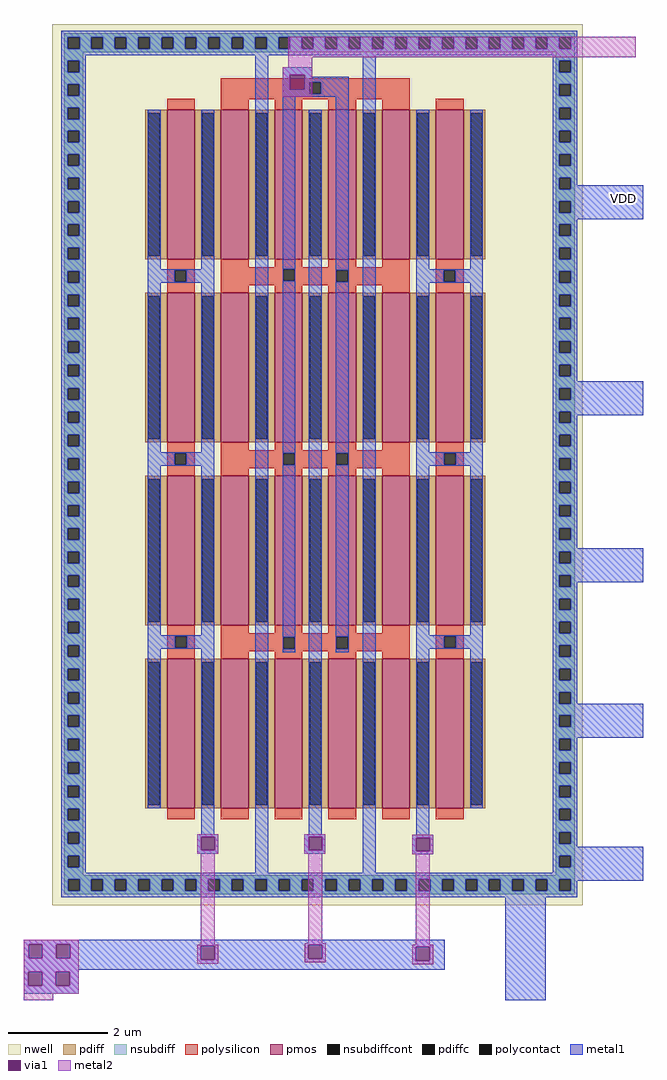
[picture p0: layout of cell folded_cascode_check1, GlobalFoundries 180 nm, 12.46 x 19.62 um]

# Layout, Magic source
magic
tech gf180mcuC
magscale 1 10
<< nwell >>
rect -3356 -2050 -1223 1494
<< nsubdiff >>
rect -3309 1441 -1257 1456
rect -3309 1394 -3294 1441
rect -3247 1395 -3199 1441
rect -3153 1395 -3105 1441
rect -3059 1395 -3011 1441
rect -2965 1395 -2917 1441
rect -2871 1395 -2823 1441
rect -2777 1395 -2729 1441
rect -2683 1395 -2635 1441
rect -2589 1395 -2541 1441
rect -2495 1395 -2447 1441
rect -2401 1395 -2353 1441
rect -2307 1395 -2259 1441
rect -2213 1395 -2165 1441
rect -2119 1395 -2071 1441
rect -2025 1395 -1977 1441
rect -1931 1395 -1883 1441
rect -1837 1395 -1789 1441
rect -1743 1395 -1695 1441
rect -1649 1395 -1601 1441
rect -1555 1395 -1507 1441
rect -1461 1395 -1413 1441
rect -1367 1395 -1319 1441
rect -3247 1394 -1319 1395
rect -1272 1394 -1257 1441
rect -3309 1380 -1257 1394
rect -3309 1346 -3233 1380
rect -3309 1300 -3294 1346
rect -3248 1300 -3233 1346
rect -3309 1252 -3233 1300
rect -1333 1346 -1257 1380
rect -1333 1300 -1318 1346
rect -1272 1300 -1257 1346
rect -3309 1206 -3294 1252
rect -3248 1206 -3233 1252
rect -3309 1158 -3233 1206
rect -1333 1252 -1257 1300
rect -1333 1206 -1318 1252
rect -1272 1206 -1257 1252
rect -3309 1112 -3294 1158
rect -3248 1112 -3233 1158
rect -3309 1064 -3233 1112
rect -3309 1018 -3294 1064
rect -3248 1018 -3233 1064
rect -3309 970 -3233 1018
rect -3309 924 -3294 970
rect -3248 924 -3233 970
rect -3309 876 -3233 924
rect -3309 830 -3294 876
rect -3248 830 -3233 876
rect -3309 782 -3233 830
rect -3309 736 -3294 782
rect -3248 736 -3233 782
rect -3309 688 -3233 736
rect -3309 642 -3294 688
rect -3248 642 -3233 688
rect -3309 594 -3233 642
rect -3309 548 -3294 594
rect -3248 548 -3233 594
rect -3309 500 -3233 548
rect -1333 1158 -1257 1206
rect -1333 1112 -1318 1158
rect -1272 1112 -1257 1158
rect -1333 1064 -1257 1112
rect -1333 1018 -1318 1064
rect -1272 1018 -1257 1064
rect -1333 970 -1257 1018
rect -1333 924 -1318 970
rect -1272 924 -1257 970
rect -1333 876 -1257 924
rect -1333 830 -1318 876
rect -1272 830 -1257 876
rect -1333 782 -1257 830
rect -1333 736 -1318 782
rect -1272 736 -1257 782
rect -1333 688 -1257 736
rect -1333 642 -1318 688
rect -1272 642 -1257 688
rect -1333 594 -1257 642
rect -1333 548 -1318 594
rect -1272 548 -1257 594
rect -3309 454 -3294 500
rect -3248 454 -3233 500
rect -1333 500 -1257 548
rect -3309 406 -3233 454
rect -1333 454 -1318 500
rect -1272 454 -1257 500
rect -3309 360 -3294 406
rect -3248 360 -3233 406
rect -3309 312 -3233 360
rect -3309 266 -3294 312
rect -3248 266 -3233 312
rect -3309 218 -3233 266
rect -3309 172 -3294 218
rect -3248 172 -3233 218
rect -3309 124 -3233 172
rect -3309 78 -3294 124
rect -3248 78 -3233 124
rect -3309 30 -3233 78
rect -3309 -16 -3294 30
rect -3248 -16 -3233 30
rect -3309 -64 -3233 -16
rect -3309 -110 -3294 -64
rect -3248 -110 -3233 -64
rect -3309 -158 -3233 -110
rect -3309 -204 -3294 -158
rect -3248 -204 -3233 -158
rect -3309 -252 -3233 -204
rect -1333 406 -1257 454
rect -1333 360 -1318 406
rect -1272 360 -1257 406
rect -1333 312 -1257 360
rect -1333 266 -1318 312
rect -1272 266 -1257 312
rect -1333 218 -1257 266
rect -1333 172 -1318 218
rect -1272 172 -1257 218
rect -1333 124 -1257 172
rect -1333 78 -1318 124
rect -1272 78 -1257 124
rect -1333 30 -1257 78
rect -1333 -16 -1318 30
rect -1272 -16 -1257 30
rect -1333 -64 -1257 -16
rect -1333 -110 -1318 -64
rect -1272 -110 -1257 -64
rect -1333 -158 -1257 -110
rect -1333 -204 -1318 -158
rect -1272 -204 -1257 -158
rect -3309 -298 -3294 -252
rect -3248 -298 -3233 -252
rect -1333 -252 -1257 -204
rect -3309 -346 -3233 -298
rect -3309 -392 -3294 -346
rect -3248 -392 -3233 -346
rect -3309 -440 -3233 -392
rect -3309 -486 -3294 -440
rect -3248 -486 -3233 -440
rect -3309 -534 -3233 -486
rect -3309 -580 -3294 -534
rect -3248 -580 -3233 -534
rect -3309 -628 -3233 -580
rect -3309 -674 -3294 -628
rect -3248 -674 -3233 -628
rect -3309 -722 -3233 -674
rect -3309 -768 -3294 -722
rect -3248 -768 -3233 -722
rect -3309 -816 -3233 -768
rect -3309 -862 -3294 -816
rect -3248 -862 -3233 -816
rect -3309 -910 -3233 -862
rect -3309 -956 -3294 -910
rect -3248 -956 -3233 -910
rect -1333 -298 -1318 -252
rect -1272 -298 -1257 -252
rect -1333 -346 -1257 -298
rect -1333 -392 -1318 -346
rect -1272 -392 -1257 -346
rect -1333 -440 -1257 -392
rect -1333 -486 -1318 -440
rect -1272 -486 -1257 -440
rect -1333 -534 -1257 -486
rect -1333 -580 -1318 -534
rect -1272 -580 -1257 -534
rect -1333 -628 -1257 -580
rect -1333 -674 -1318 -628
rect -1272 -674 -1257 -628
rect -1333 -722 -1257 -674
rect -1333 -768 -1318 -722
rect -1272 -768 -1257 -722
rect -1333 -816 -1257 -768
rect -1333 -862 -1318 -816
rect -1272 -862 -1257 -816
rect -1333 -910 -1257 -862
rect -3309 -1004 -3233 -956
rect -3309 -1050 -3294 -1004
rect -3248 -1050 -3233 -1004
rect -1333 -956 -1318 -910
rect -1272 -956 -1257 -910
rect -1333 -1004 -1257 -956
rect -3309 -1098 -3233 -1050
rect -3309 -1144 -3294 -1098
rect -3248 -1144 -3233 -1098
rect -3309 -1192 -3233 -1144
rect -3309 -1238 -3294 -1192
rect -3248 -1238 -3233 -1192
rect -3309 -1286 -3233 -1238
rect -3309 -1332 -3294 -1286
rect -3248 -1332 -3233 -1286
rect -3309 -1380 -3233 -1332
rect -3309 -1426 -3294 -1380
rect -3248 -1426 -3233 -1380
rect -3309 -1474 -3233 -1426
rect -3309 -1520 -3294 -1474
rect -3248 -1520 -3233 -1474
rect -3309 -1568 -3233 -1520
rect -3309 -1614 -3294 -1568
rect -3248 -1614 -3233 -1568
rect -3309 -1662 -3233 -1614
rect -3309 -1708 -3294 -1662
rect -3248 -1708 -3233 -1662
rect -3309 -1756 -3233 -1708
rect -3309 -1802 -3294 -1756
rect -3248 -1802 -3233 -1756
rect -3309 -1850 -3233 -1802
rect -3309 -1896 -3294 -1850
rect -3248 -1896 -3233 -1850
rect -3309 -1929 -3233 -1896
rect -1333 -1050 -1318 -1004
rect -1272 -1050 -1257 -1004
rect -1333 -1098 -1257 -1050
rect -1333 -1144 -1318 -1098
rect -1272 -1144 -1257 -1098
rect -1333 -1192 -1257 -1144
rect -1333 -1238 -1318 -1192
rect -1272 -1238 -1257 -1192
rect -1333 -1286 -1257 -1238
rect -1333 -1332 -1318 -1286
rect -1272 -1332 -1257 -1286
rect -1333 -1380 -1257 -1332
rect -1333 -1426 -1318 -1380
rect -1272 -1426 -1257 -1380
rect -1333 -1474 -1257 -1426
rect -1333 -1520 -1318 -1474
rect -1272 -1520 -1257 -1474
rect -1333 -1568 -1257 -1520
rect -1333 -1614 -1318 -1568
rect -1272 -1614 -1257 -1568
rect -1333 -1662 -1257 -1614
rect -1333 -1708 -1318 -1662
rect -1272 -1708 -1257 -1662
rect -1333 -1756 -1257 -1708
rect -1333 -1802 -1318 -1756
rect -1272 -1802 -1257 -1756
rect -1333 -1850 -1257 -1802
rect -1333 -1896 -1318 -1850
rect -1272 -1896 -1257 -1850
rect -1333 -1929 -1257 -1896
rect -3309 -1944 -1257 -1929
rect -3309 -1990 -3293 -1944
rect -3247 -1990 -3199 -1944
rect -3153 -1990 -3105 -1944
rect -3059 -1990 -3011 -1944
rect -2965 -1990 -2917 -1944
rect -2871 -1990 -2823 -1944
rect -2777 -1990 -2729 -1944
rect -2683 -1990 -2635 -1944
rect -2589 -1990 -2541 -1944
rect -2495 -1990 -2447 -1944
rect -2401 -1990 -2353 -1944
rect -2307 -1990 -2259 -1944
rect -2213 -1990 -2165 -1944
rect -2119 -1990 -2071 -1944
rect -2025 -1990 -1977 -1944
rect -1931 -1990 -1883 -1944
rect -1837 -1990 -1789 -1944
rect -1743 -1990 -1695 -1944
rect -1649 -1990 -1601 -1944
rect -1555 -1990 -1507 -1944
rect -1461 -1990 -1413 -1944
rect -1367 -1990 -1319 -1944
rect -1273 -1990 -1257 -1944
rect -3309 -2005 -1257 -1990
<< nsubdiffcont >>
rect -3294 1394 -3247 1441
rect -3199 1395 -3153 1441
rect -3105 1395 -3059 1441
rect -3011 1395 -2965 1441
rect -2917 1395 -2871 1441
rect -2823 1395 -2777 1441
rect -2729 1395 -2683 1441
rect -2635 1395 -2589 1441
rect -2541 1395 -2495 1441
rect -2447 1395 -2401 1441
rect -2353 1395 -2307 1441
rect -2259 1395 -2213 1441
rect -2165 1395 -2119 1441
rect -2071 1395 -2025 1441
rect -1977 1395 -1931 1441
rect -1883 1395 -1837 1441
rect -1789 1395 -1743 1441
rect -1695 1395 -1649 1441
rect -1601 1395 -1555 1441
rect -1507 1395 -1461 1441
rect -1413 1395 -1367 1441
rect -1319 1394 -1272 1441
rect -3294 1300 -3248 1346
rect -1318 1300 -1272 1346
rect -3294 1206 -3248 1252
rect -1318 1206 -1272 1252
rect -3294 1112 -3248 1158
rect -3294 1018 -3248 1064
rect -3294 924 -3248 970
rect -3294 830 -3248 876
rect -3294 736 -3248 782
rect -3294 642 -3248 688
rect -3294 548 -3248 594
rect -1318 1112 -1272 1158
rect -1318 1018 -1272 1064
rect -1318 924 -1272 970
rect -1318 830 -1272 876
rect -1318 736 -1272 782
rect -1318 642 -1272 688
rect -1318 548 -1272 594
rect -3294 454 -3248 500
rect -1318 454 -1272 500
rect -3294 360 -3248 406
rect -3294 266 -3248 312
rect -3294 172 -3248 218
rect -3294 78 -3248 124
rect -3294 -16 -3248 30
rect -3294 -110 -3248 -64
rect -3294 -204 -3248 -158
rect -1318 360 -1272 406
rect -1318 266 -1272 312
rect -1318 172 -1272 218
rect -1318 78 -1272 124
rect -1318 -16 -1272 30
rect -1318 -110 -1272 -64
rect -1318 -204 -1272 -158
rect -3294 -298 -3248 -252
rect -3294 -392 -3248 -346
rect -3294 -486 -3248 -440
rect -3294 -580 -3248 -534
rect -3294 -674 -3248 -628
rect -3294 -768 -3248 -722
rect -3294 -862 -3248 -816
rect -3294 -956 -3248 -910
rect -1318 -298 -1272 -252
rect -1318 -392 -1272 -346
rect -1318 -486 -1272 -440
rect -1318 -580 -1272 -534
rect -1318 -674 -1272 -628
rect -1318 -768 -1272 -722
rect -1318 -862 -1272 -816
rect -3294 -1050 -3248 -1004
rect -1318 -956 -1272 -910
rect -3294 -1144 -3248 -1098
rect -3294 -1238 -3248 -1192
rect -3294 -1332 -3248 -1286
rect -3294 -1426 -3248 -1380
rect -3294 -1520 -3248 -1474
rect -3294 -1614 -3248 -1568
rect -3294 -1708 -3248 -1662
rect -3294 -1802 -3248 -1756
rect -3294 -1896 -3248 -1850
rect -1318 -1050 -1272 -1004
rect -1318 -1144 -1272 -1098
rect -1318 -1238 -1272 -1192
rect -1318 -1332 -1272 -1286
rect -1318 -1426 -1272 -1380
rect -1318 -1520 -1272 -1474
rect -1318 -1614 -1272 -1568
rect -1318 -1708 -1272 -1662
rect -1318 -1802 -1272 -1756
rect -1318 -1896 -1272 -1850
rect -3293 -1990 -3247 -1944
rect -3199 -1990 -3153 -1944
rect -3105 -1990 -3059 -1944
rect -3011 -1990 -2965 -1944
rect -2917 -1990 -2871 -1944
rect -2823 -1990 -2777 -1944
rect -2729 -1990 -2683 -1944
rect -2635 -1990 -2589 -1944
rect -2541 -1990 -2495 -1944
rect -2447 -1990 -2401 -1944
rect -2353 -1990 -2307 -1944
rect -2259 -1990 -2213 -1944
rect -2165 -1990 -2119 -1944
rect -2071 -1990 -2025 -1944
rect -1977 -1990 -1931 -1944
rect -1883 -1990 -1837 -1944
rect -1789 -1990 -1743 -1944
rect -1695 -1990 -1649 -1944
rect -1601 -1990 -1555 -1944
rect -1507 -1990 -1461 -1944
rect -1413 -1990 -1367 -1944
rect -1319 -1990 -1273 -1944
<< polysilicon >>
rect -2679 1260 -1919 1276
rect -2679 1214 -2323 1260
rect -2277 1214 -1919 1260
rect -2679 1192 -1919 1214
rect -2679 507 -1919 517
rect -2895 504 -2783 505
rect -2895 458 -2864 504
rect -2818 458 -2783 504
rect -2895 457 -2783 458
rect -2679 461 -2428 507
rect -2382 504 -1919 507
rect -2382 461 -2215 504
rect -2679 457 -2215 461
rect -2167 457 -1919 504
rect -1815 504 -1703 505
rect -1815 458 -1782 504
rect -1736 458 -1703 504
rect -1815 457 -1703 458
rect -2679 444 -1919 457
rect -2895 -232 -2783 -231
rect -2895 -278 -2864 -232
rect -2818 -278 -2783 -232
rect -2895 -279 -2783 -278
rect -2679 -232 -1919 -219
rect -2679 -278 -2428 -232
rect -2382 -278 -2215 -232
rect -2679 -279 -2215 -278
rect -2167 -279 -1919 -232
rect -1815 -232 -1703 -231
rect -1815 -278 -1781 -232
rect -1735 -278 -1703 -232
rect -1815 -279 -1703 -278
rect -2679 -292 -1919 -279
rect -2895 -968 -2783 -967
rect -2895 -1014 -2863 -968
rect -2817 -1014 -2783 -968
rect -2895 -1015 -2783 -1014
rect -2679 -970 -1919 -955
rect -2679 -971 -2215 -970
rect -2679 -1017 -2428 -971
rect -2382 -1017 -2215 -971
rect -2167 -1017 -1919 -970
rect -1815 -968 -1703 -967
rect -1815 -1014 -1781 -968
rect -1735 -1014 -1703 -968
rect -1815 -1015 -1703 -1014
rect -2679 -1028 -1919 -1017
<< polycontact >>
rect -2323 1214 -2277 1260
rect -2864 458 -2818 504
rect -2428 461 -2382 507
rect -2215 457 -2167 504
rect -1782 458 -1736 504
rect -2864 -278 -2818 -232
rect -2428 -278 -2382 -232
rect -2215 -279 -2167 -232
rect -1781 -278 -1735 -232
rect -2863 -1014 -2817 -968
rect -2428 -1017 -2382 -971
rect -2215 -1017 -2167 -970
rect -1781 -1014 -1735 -968
<< metal1 >>
rect -3320 1441 -1246 1467
rect -3320 1394 -3294 1441
rect -3247 1395 -3199 1441
rect -3153 1395 -3105 1441
rect -3059 1395 -3011 1441
rect -2965 1395 -2917 1441
rect -2871 1395 -2823 1441
rect -2777 1395 -2729 1441
rect -2683 1395 -2635 1441
rect -2589 1395 -2541 1441
rect -2495 1395 -2447 1441
rect -2401 1395 -2353 1441
rect -2307 1395 -2259 1441
rect -2213 1395 -2165 1441
rect -2119 1395 -2071 1441
rect -2025 1395 -1977 1441
rect -1931 1395 -1883 1441
rect -1837 1395 -1789 1441
rect -1743 1395 -1695 1441
rect -1649 1395 -1601 1441
rect -1555 1395 -1507 1441
rect -1461 1395 -1413 1441
rect -1367 1395 -1319 1441
rect -3247 1394 -1319 1395
rect -1272 1394 -1246 1441
rect -3320 1369 -1246 1394
rect -3320 1346 -3222 1369
rect -3320 1300 -3294 1346
rect -3248 1300 -3222 1346
rect -3320 1252 -3222 1300
rect -3320 1206 -3294 1252
rect -3248 1206 -3222 1252
rect -3320 1158 -3222 1206
rect -3320 1112 -3294 1158
rect -3248 1112 -3222 1158
rect -3320 1064 -3222 1112
rect -3320 1018 -3294 1064
rect -3248 1018 -3222 1064
rect -3320 970 -3222 1018
rect -3320 924 -3294 970
rect -3248 924 -3222 970
rect -3320 876 -3222 924
rect -3320 830 -3294 876
rect -3248 830 -3222 876
rect -3320 782 -3222 830
rect -3320 736 -3294 782
rect -3248 736 -3222 782
rect -3320 688 -3222 736
rect -3320 642 -3294 688
rect -3248 642 -3222 688
rect -3320 594 -3222 642
rect -3320 548 -3294 594
rect -3248 548 -3222 594
rect -3320 500 -3222 548
rect -3320 454 -3294 500
rect -3248 454 -3222 500
rect -3320 406 -3222 454
rect -3320 360 -3294 406
rect -3248 360 -3222 406
rect -3320 312 -3222 360
rect -3320 266 -3294 312
rect -3248 266 -3222 312
rect -3320 218 -3222 266
rect -3320 172 -3294 218
rect -3248 172 -3222 218
rect -3320 124 -3222 172
rect -3320 78 -3294 124
rect -3248 78 -3222 124
rect -3320 30 -3222 78
rect -3320 -16 -3294 30
rect -3248 -16 -3222 30
rect -3320 -64 -3222 -16
rect -3320 -110 -3294 -64
rect -3248 -110 -3222 -64
rect -3320 -158 -3222 -110
rect -3320 -204 -3294 -158
rect -3248 -204 -3222 -158
rect -3320 -252 -3222 -204
rect -3320 -298 -3294 -252
rect -3248 -298 -3222 -252
rect -3320 -346 -3222 -298
rect -3320 -392 -3294 -346
rect -3248 -392 -3222 -346
rect -3320 -440 -3222 -392
rect -3320 -486 -3294 -440
rect -3248 -486 -3222 -440
rect -3320 -534 -3222 -486
rect -3320 -580 -3294 -534
rect -3248 -580 -3222 -534
rect -3320 -628 -3222 -580
rect -3320 -674 -3294 -628
rect -3248 -674 -3222 -628
rect -3320 -722 -3222 -674
rect -3320 -768 -3294 -722
rect -3248 -768 -3222 -722
rect -3320 -816 -3222 -768
rect -3320 -862 -3294 -816
rect -3248 -862 -3222 -816
rect -3320 -910 -3222 -862
rect -3320 -956 -3294 -910
rect -3248 -956 -3222 -910
rect -3320 -1004 -3222 -956
rect -3320 -1050 -3294 -1004
rect -3248 -1050 -3222 -1004
rect -3320 -1098 -3222 -1050
rect -3320 -1144 -3294 -1098
rect -3248 -1144 -3222 -1098
rect -3320 -1192 -3222 -1144
rect -3320 -1238 -3294 -1192
rect -3248 -1238 -3222 -1192
rect -3320 -1286 -3222 -1238
rect -3320 -1332 -3294 -1286
rect -3248 -1332 -3222 -1286
rect -3320 -1380 -3222 -1332
rect -3320 -1426 -3294 -1380
rect -3248 -1426 -3222 -1380
rect -3320 -1474 -3222 -1426
rect -3320 -1520 -3294 -1474
rect -3248 -1520 -3222 -1474
rect -3320 -1568 -3222 -1520
rect -3320 -1614 -3294 -1568
rect -3248 -1614 -3222 -1568
rect -3320 -1662 -3222 -1614
rect -2973 508 -2921 1149
rect -2757 508 -2705 1150
rect -2973 504 -2705 508
rect -2973 458 -2864 504
rect -2818 458 -2705 504
rect -2973 454 -2705 458
rect -2973 -228 -2921 454
rect -2757 -228 -2705 454
rect -2973 -232 -2705 -228
rect -2973 -278 -2864 -232
rect -2818 -278 -2705 -232
rect -2973 -282 -2705 -278
rect -2973 -964 -2921 -282
rect -2757 -964 -2705 -282
rect -2973 -968 -2705 -964
rect -2973 -1014 -2863 -968
rect -2817 -1014 -2705 -968
rect -2973 -1018 -2705 -1014
rect -2973 -1660 -2921 -1018
rect -3320 -1708 -3294 -1662
rect -3248 -1708 -3222 -1662
rect -3320 -1756 -3222 -1708
rect -3320 -1802 -3294 -1756
rect -3248 -1802 -3222 -1756
rect -2757 -1764 -2705 -1018
rect -3320 -1850 -3222 -1802
rect -2773 -1774 -2689 -1764
rect -2773 -1828 -2758 -1774
rect -2704 -1828 -2689 -1774
rect -2773 -1842 -2689 -1828
rect -3320 -1896 -3294 -1850
rect -3248 -1896 -3222 -1850
rect -3320 -1918 -3222 -1896
rect -2541 -1918 -2489 1369
rect -2431 1289 -2312 1320
rect -2431 1229 -2402 1289
rect -2342 1281 -2312 1289
rect -2342 1260 -2165 1281
rect -2342 1229 -2323 1260
rect -2431 1214 -2323 1229
rect -2277 1214 -2165 1260
rect -2431 1201 -2165 1214
rect -2431 507 -2379 1201
rect -2431 461 -2428 507
rect -2382 461 -2379 507
rect -2431 -232 -2379 461
rect -2431 -278 -2428 -232
rect -2382 -278 -2379 -232
rect -2431 -971 -2379 -278
rect -2431 -1017 -2428 -971
rect -2382 -1017 -2379 -971
rect -2431 -1032 -2379 -1017
rect -2325 -1764 -2273 1150
rect -2217 504 -2165 1201
rect -2217 457 -2215 504
rect -2167 457 -2165 504
rect -2217 -232 -2165 457
rect -2217 -279 -2215 -232
rect -2167 -279 -2165 -232
rect -2217 -970 -2165 -279
rect -2217 -1017 -2215 -970
rect -2167 -1017 -2165 -970
rect -2217 -1032 -2165 -1017
rect -2343 -1774 -2259 -1764
rect -2343 -1828 -2326 -1774
rect -2272 -1828 -2259 -1774
rect -2343 -1842 -2259 -1828
rect -2109 -1918 -2057 1369
rect -1344 1346 -1246 1369
rect -1344 1300 -1318 1346
rect -1272 1300 -1246 1346
rect -1344 1252 -1246 1300
rect -1344 1206 -1318 1252
rect -1272 1206 -1246 1252
rect -1344 1158 -1246 1206
rect -1893 507 -1841 1150
rect -1677 507 -1625 1150
rect -1893 504 -1625 507
rect -1893 458 -1782 504
rect -1736 458 -1625 504
rect -1893 453 -1625 458
rect -1893 -228 -1841 453
rect -1677 -228 -1625 453
rect -1893 -232 -1625 -228
rect -1893 -278 -1781 -232
rect -1735 -278 -1625 -232
rect -1893 -282 -1625 -278
rect -1893 -964 -1841 -282
rect -1677 -964 -1625 -282
rect -1893 -968 -1625 -964
rect -1893 -1014 -1781 -968
rect -1735 -1014 -1625 -968
rect -1893 -1018 -1625 -1014
rect -1893 -1766 -1841 -1018
rect -1677 -1659 -1625 -1018
rect -1344 1112 -1318 1158
rect -1272 1112 -1246 1158
rect -1344 1064 -1246 1112
rect -1344 1018 -1318 1064
rect -1272 1018 -1246 1064
rect -1344 970 -1246 1018
rect -1344 924 -1318 970
rect -1272 924 -1246 970
rect -1344 876 -1246 924
rect -1344 830 -1318 876
rect -1272 845 -1246 876
rect -1272 830 -980 845
rect -1344 782 -980 830
rect -1344 736 -1318 782
rect -1272 736 -980 782
rect -1344 708 -980 736
rect -1344 688 -1246 708
rect -1344 642 -1318 688
rect -1272 642 -1246 688
rect -1344 594 -1246 642
rect -1344 548 -1318 594
rect -1272 548 -1246 594
rect -1344 500 -1246 548
rect -1344 454 -1318 500
rect -1272 454 -1246 500
rect -1344 406 -1246 454
rect -1344 360 -1318 406
rect -1272 360 -1246 406
rect -1344 312 -1246 360
rect -1344 266 -1318 312
rect -1272 266 -1246 312
rect -1344 218 -1246 266
rect -1344 172 -1318 218
rect -1272 172 -1246 218
rect -1344 124 -1246 172
rect -1344 78 -1318 124
rect -1272 78 -1246 124
rect -1344 58 -1246 78
rect -1344 30 -980 58
rect -1344 -16 -1318 30
rect -1272 -16 -980 30
rect -1344 -64 -980 -16
rect -1344 -110 -1318 -64
rect -1272 -79 -980 -64
rect -1272 -110 -1246 -79
rect -1344 -158 -1246 -110
rect -1344 -204 -1318 -158
rect -1272 -204 -1246 -158
rect -1344 -252 -1246 -204
rect -1344 -298 -1318 -252
rect -1272 -298 -1246 -252
rect -1344 -346 -1246 -298
rect -1344 -392 -1318 -346
rect -1272 -392 -1246 -346
rect -1344 -440 -1246 -392
rect -1344 -486 -1318 -440
rect -1272 -486 -1246 -440
rect -1344 -534 -1246 -486
rect -1344 -580 -1318 -534
rect -1272 -580 -1246 -534
rect -1344 -614 -1246 -580
rect -1344 -628 -980 -614
rect -1344 -674 -1318 -628
rect -1272 -674 -980 -628
rect -1344 -722 -980 -674
rect -1344 -768 -1318 -722
rect -1272 -751 -980 -722
rect -1272 -768 -1246 -751
rect -1344 -816 -1246 -768
rect -1344 -862 -1318 -816
rect -1272 -862 -1246 -816
rect -1344 -910 -1246 -862
rect -1344 -956 -1318 -910
rect -1272 -956 -1246 -910
rect -1344 -1004 -1246 -956
rect -1344 -1050 -1318 -1004
rect -1272 -1050 -1246 -1004
rect -1344 -1098 -1246 -1050
rect -1344 -1144 -1318 -1098
rect -1272 -1144 -1246 -1098
rect -1344 -1192 -1246 -1144
rect -1344 -1238 -1318 -1192
rect -1272 -1238 -1246 -1192
rect -1344 -1286 -980 -1238
rect -1344 -1332 -1318 -1286
rect -1272 -1332 -980 -1286
rect -1344 -1375 -980 -1332
rect -1344 -1380 -1246 -1375
rect -1344 -1426 -1318 -1380
rect -1272 -1426 -1246 -1380
rect -1344 -1474 -1246 -1426
rect -1344 -1520 -1318 -1474
rect -1272 -1520 -1246 -1474
rect -1344 -1568 -1246 -1520
rect -1344 -1614 -1318 -1568
rect -1272 -1614 -1246 -1568
rect -1344 -1662 -1246 -1614
rect -1344 -1708 -1318 -1662
rect -1272 -1708 -1246 -1662
rect -1344 -1756 -1246 -1708
rect -1909 -1777 -1825 -1766
rect -1909 -1831 -1894 -1777
rect -1840 -1831 -1825 -1777
rect -1909 -1844 -1825 -1831
rect -1344 -1802 -1318 -1756
rect -1272 -1802 -1246 -1756
rect -1344 -1813 -1246 -1802
rect -1344 -1850 -980 -1813
rect -1344 -1896 -1318 -1850
rect -1272 -1896 -980 -1850
rect -1344 -1918 -980 -1896
rect -3320 -1944 -980 -1918
rect -3320 -1990 -3293 -1944
rect -3247 -1990 -3199 -1944
rect -3153 -1990 -3105 -1944
rect -3059 -1990 -3011 -1944
rect -2965 -1990 -2917 -1944
rect -2871 -1990 -2823 -1944
rect -2777 -1990 -2729 -1944
rect -2683 -1990 -2635 -1944
rect -2589 -1990 -2541 -1944
rect -2495 -1990 -2447 -1944
rect -2401 -1990 -2353 -1944
rect -2307 -1990 -2259 -1944
rect -2213 -1990 -2165 -1944
rect -2119 -1990 -2071 -1944
rect -2025 -1990 -1977 -1944
rect -1931 -1990 -1883 -1944
rect -1837 -1990 -1789 -1944
rect -1743 -1990 -1695 -1944
rect -1649 -1990 -1601 -1944
rect -1555 -1990 -1507 -1944
rect -1461 -1990 -1413 -1944
rect -1367 -1990 -1319 -1944
rect -1273 -1950 -980 -1944
rect -1273 -1990 -1246 -1950
rect -3320 -2016 -1246 -1990
rect -3472 -2206 -1779 -2187
rect -3472 -2262 -3452 -2206
rect -3396 -2262 -3341 -2206
rect -3285 -2208 -1779 -2206
rect -3285 -2212 -2327 -2208
rect -3285 -2262 -2759 -2212
rect -3472 -2268 -2759 -2262
rect -2703 -2264 -2327 -2212
rect -2271 -2216 -1779 -2208
rect -2271 -2264 -1895 -2216
rect -2703 -2268 -1895 -2264
rect -3472 -2272 -1895 -2268
rect -1839 -2272 -1779 -2216
rect -3472 -2309 -1779 -2272
rect -3472 -2316 -3250 -2309
rect -3472 -2372 -3453 -2316
rect -3397 -2372 -3342 -2316
rect -3286 -2372 -3250 -2316
rect -3472 -2404 -3250 -2372
rect -1536 -2430 -1372 -2016
<< via1 >>
rect -2758 -1828 -2704 -1774
rect -2402 1229 -2342 1289
rect -2326 -1828 -2272 -1774
rect -1894 -1831 -1840 -1777
rect -3452 -2262 -3396 -2206
rect -3341 -2262 -3285 -2206
rect -2759 -2268 -2703 -2212
rect -2327 -2264 -2271 -2208
rect -1895 -2272 -1839 -2216
rect -3453 -2372 -3397 -2316
rect -3342 -2372 -3286 -2316
<< metal2 >>
rect -2407 1360 -1010 1442
rect -2407 1320 -2312 1360
rect -2431 1289 -2312 1320
rect -2431 1229 -2402 1289
rect -2342 1229 -2312 1289
rect -2431 1201 -2312 1229
rect -2773 -1774 -2689 -1764
rect -2773 -1828 -2758 -1774
rect -2704 -1828 -2689 -1774
rect -2773 -1842 -2689 -1828
rect -2343 -1774 -2259 -1764
rect -2343 -1828 -2326 -1774
rect -2272 -1828 -2259 -1774
rect -2343 -1842 -2259 -1828
rect -1909 -1777 -1825 -1766
rect -1909 -1831 -1894 -1777
rect -1840 -1831 -1825 -1777
rect -3472 -2206 -3250 -2187
rect -3472 -2262 -3452 -2206
rect -3396 -2262 -3341 -2206
rect -3285 -2262 -3250 -2206
rect -2759 -2207 -2703 -1842
rect -2327 -2201 -2271 -1842
rect -1909 -1844 -1825 -1831
rect -3472 -2316 -3250 -2262
rect -2773 -2212 -2689 -2207
rect -2773 -2268 -2759 -2212
rect -2703 -2268 -2689 -2212
rect -2773 -2285 -2689 -2268
rect -2341 -2208 -2257 -2201
rect -1895 -2208 -1839 -1844
rect -2341 -2264 -2327 -2208
rect -2271 -2264 -2257 -2208
rect -2341 -2279 -2257 -2264
rect -1909 -2216 -1825 -2208
rect -1909 -2272 -1895 -2216
rect -1839 -2272 -1825 -2216
rect -1909 -2286 -1825 -2272
rect -3472 -2372 -3453 -2316
rect -3397 -2372 -3342 -2316
rect -3286 -2372 -3250 -2316
rect -3472 -2404 -3250 -2372
rect -3472 -2430 -3352 -2404
use pmos_3p3_9BLZD7  pmos_3p3_9BLZD7_0
transform 1 0 -2299 0 1 -255
box -554 -1534 554 1534
use pmos_3p3_9K6RD7  pmos_3p3_9K6RD7_16
transform 1 0 -2839 0 1 -1359
box -230 -430 230 430
use pmos_3p3_9K6RD7  pmos_3p3_9K6RD7_17
transform 1 0 -1759 0 1 -1359
box -230 -430 230 430
use pmos_3p3_9K6RD7  pmos_3p3_9K6RD7_18
transform 1 0 -2839 0 1 113
box -230 -430 230 430
use pmos_3p3_9K6RD7  pmos_3p3_9K6RD7_19
transform 1 0 -2839 0 1 -623
box -230 -430 230 430
use pmos_3p3_9K6RD7  pmos_3p3_9K6RD7_20
transform 1 0 -2839 0 1 849
box -230 -430 230 430
use pmos_3p3_9K6RD7  pmos_3p3_9K6RD7_21
transform 1 0 -1759 0 1 849
box -230 -430 230 430
use pmos_3p3_9K6RD7  pmos_3p3_9K6RD7_22
transform 1 0 -1759 0 1 113
box -230 -430 230 430
use pmos_3p3_9K6RD7  pmos_3p3_9K6RD7_23
transform 1 0 -1759 0 1 -623
box -230 -430 230 430
<< labels >>
flabel metal1 -1062 792 -1062 792 0 FreeSans 1600 0 0 0 VDD
port 0 nsew
<< end >>

# cell pmos_3p3_9BLZD7: kit device pmos_3p3, w 3 l 0.56 m 4 nf 4 diffcov 100 polycov 100 guard 0 glc 0 grc 0 gtc 0 gbc 0 tbcov 100 rlcov 100 topc 0 botc 0 poverlap 0 doverlap 1 lmin 0.28 wmin 0.22 full_metal 0 compatible {pmos_3p3 pmos_6p0}

# cell pmos_3p3_9K6RD7: kit device pmos_3p3, w 3 l 0.56 m 1 nf 1 diffcov 100 polycov 100 guard 0 glc 0 grc 0 gtc 0 gbc 0 tbcov 100 rlcov 100 topc 0 botc 0 poverlap 0 doverlap 1 lmin 0.28 wmin 0.22 full_metal 0 compatible {pmos_3p3 pmos_6p0}
